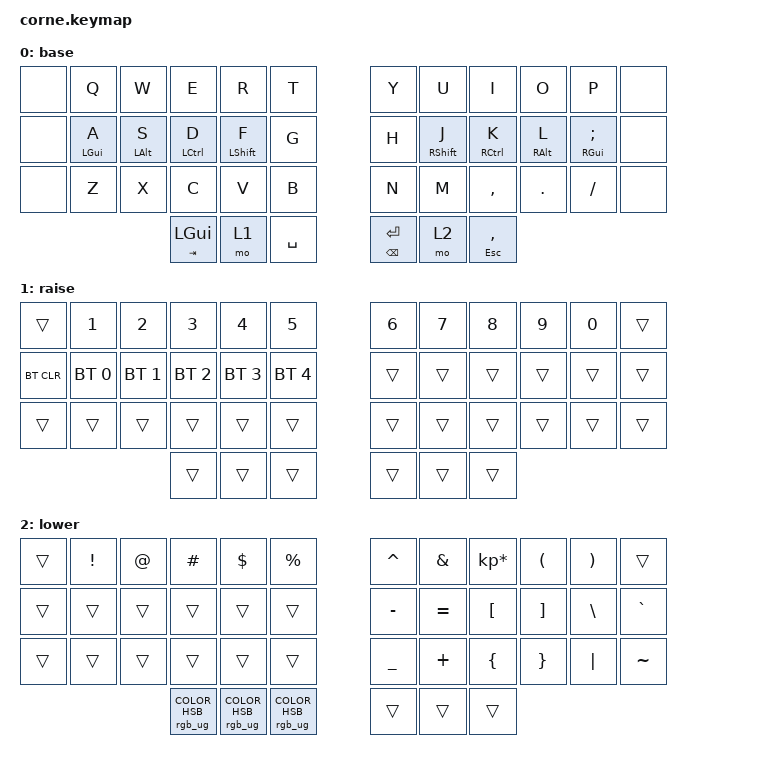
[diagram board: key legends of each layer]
/*
 * Copyright (c) 2020 The ZMK Contributors
 *
 * SPDX-License-Identifier: MIT
 */

#include <behaviors.dtsi>
#include <dt-bindings/zmk/keys.h>
#include <dt-bindings/zmk/bt.h>
#include <dt-bindings/zmk/rgb.h>

/ {
    behaviors {
        hm: homerow_mods {
            compatible = "zmk,behavior-hold-tap";
            label = "HOMEROW_MODS";
            #binding-cells = <2>;
            tapping-term-ms = <150>;
            quick-tap-ms = <0>;
            flavor = "tap-preferred";
            bindings =
                <&kp>,
                <&kp>;
        };
    };

    combos {
        compatible = "zmk,combos";

        tab {
            bindings = <&trans>;
            key-positions = <2 3>;
        };

        ctrl {
            bindings = <&kp LCTRL>;
            key-positions = <26 27>;
        };

        cmd {
            bindings = <&kp LCMD>;
            key-positions = <37 38>;
        };

        alt {
            bindings = <&kp LEFT_ALT>;
            key-positions = <39 40>;
        };

        shift {
            bindings = <&kp LSHIFT>;
            key-positions = <8 9>;
        };

        caps_word {
            bindings = <&caps_word>;
            key-positions = <17 18>;
        };

        delete {
            bindings = <&kp DEL>;
            key-positions = <32 33>;
        };
    };

    macros {
        zed_em_kay: zed_em_kay {
            compatible = "zmk,behavior-macro";
            label = "ZM_zed_em_kay";
            #binding-cells = <0>;
            bindings =
                <&macro_press>,
                <&kp LSHFT>,
                <&macro_tap>,
                <&kp Z &kp M &kp K>,
                <&macro_release>,
                <&kp LSHFT>;
        };
    };

    keymap {
        compatible = "zmk,keymap";

        base {
            bindings = <
  &none       &kp Q       &kp W         &kp E         &kp R      &kp T                   &kp Y         &kp U          &kp I       &kp O          &kp P   &none
  &none  &hm LGUI A  &hm LALT S   &hm LCTRL D  &hm LSHIFT F      &kp G                   &kp H  &hm RSHIFT J    &hm RCTRL K  &hm RALT L  &hm RGUI SEMI   &none
  &none       &kp Z       &kp X         &kp C         &kp V      &kp B                   &kp N         &kp M      &kp COMMA     &kp DOT       &kp FSLH   &none
                                 &hm TAB LGUI         &mo 1  &kp SPACE          &hm BSPC ENTER         &mo 2  &hm ESC COMMA
            >;
        };

        raise {
            bindings = <
     &trans        &kp N1        &kp N2        &kp N3        &kp N4        &kp N5          &kp N6  &kp N7  &kp N8  &kp N9  &kp N0  &trans
 &bt BT_CLR  &bt BT_SEL 0  &bt BT_SEL 1  &bt BT_SEL 2  &bt BT_SEL 3  &bt BT_SEL 4          &trans  &trans  &trans  &trans  &trans  &trans
     &trans        &trans        &trans        &trans        &trans        &trans          &trans  &trans  &trans  &trans  &trans  &trans
                                               &trans        &trans        &trans          &trans  &trans  &trans
            >;
        };

        lower {
            bindings = <
 &trans  &kp EXCL  &kp AT                        &kp HASH                          &kp DLLR                         &kp PRCNT          &kp CARET   &kp AMPS  &kp KP_MULTIPLY  &kp LPAR  &kp RPAR     &trans
 &trans    &trans  &trans                          &trans                            &trans                            &trans          &kp MINUS  &kp EQUAL         &kp LBKT  &kp RBKT  &kp BSLH  &kp GRAVE
 &trans    &trans  &trans                          &trans                            &trans                            &trans          &kp UNDER   &kp PLUS         &kp LBRC  &kp RBRC  &kp PIPE  &kp TILDE
                           &rgb_ug RGB_COLOR_HSB(0,50,56)  &rgb_ug RGB_COLOR_HSB(104,57,55)  &rgb_ug RGB_COLOR_HSB(209,50,55)             &trans     &trans           &trans
            >;
        };
    };
};
